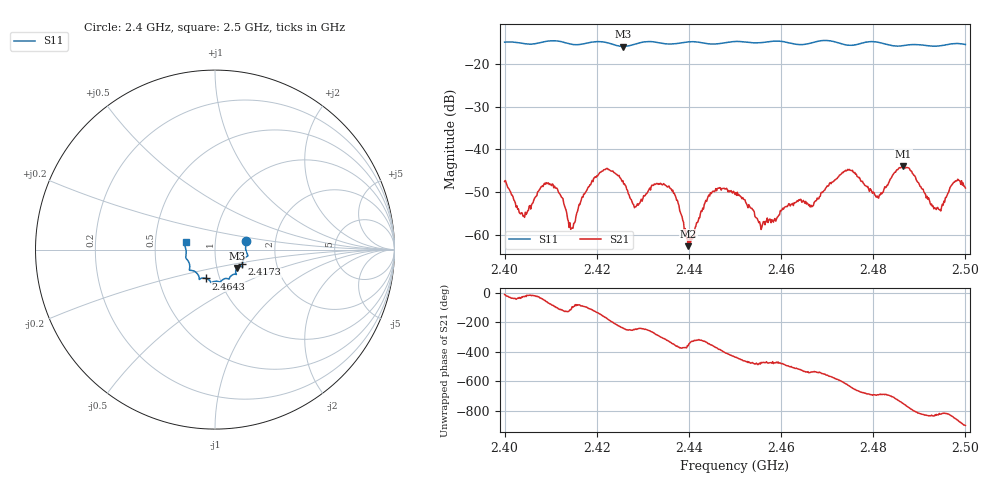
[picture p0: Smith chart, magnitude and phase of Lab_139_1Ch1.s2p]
# Hz S RI R 50
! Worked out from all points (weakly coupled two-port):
!   601 points, 2.4 GHz to 2.5 GHz, reference 50 ohm
!   highest |S21| = -44.00 dB at 2.4865 GHz (marker M1); lowest = -62.7 dB at 2.4398 GHz (marker M2)
!   lowest |S11| = -15.9 dB at 2.4257 GHz (marker M3), VSWR 1.38, Z = 62.5 - j13.1 ohm
!   |S11| at or under -10 dB: start of sweep to end of sweep
!   S12 and S22 are empty: the file has one direction only
!   S11 on the Smith chart (normalised r, x): 2.4 GHz: 1.41, +0.14; 2.4173 GHz: 1.34, -0.23; 2.4643 GHz: 0.86, -0.28; 2.5 GHz: 0.72, +0.06
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2.4e9  0.1731 0.0494  0.00409 -0.000937  0 0  0 0
2.403833e9  0.1725 0.027  0.00152 -0.000943  0 0  0 0
2.410833e9  0.1835 -0.0347  -0.000286 -0.0037  0 0  0 0
2.4145e9  0.1623 -0.0511  -0.000396 -0.00112  0 0  0 0
2.416667e9  0.1527 -0.0745  1.19e-05 -0.0026  0 0  0 0
2.417333e9  0.1521 -0.0819  -0.000258 -0.00299  0 0  0 0
2.421833e9  0.1521 -0.0948  -0.00567 -0.00122  0 0  0 0
2.425667e9  0.1227 -0.1024  -0.00216 0.00371  0 0  0 0
2.4285e9  0.1152 -0.1277  -0.000861 0.00195  0 0  0 0
2.433333e9  0.1128 -0.1371  0.00132 0.00366  0 0  0 0
2.436667e9  0.0895 -0.1466  0.00297 0.000699  0 0  0 0
2.439833e9  0.0799 -0.1625  0.000736 3.66e-07  0 0  0 0
2.444667e9  0.0583 -0.161  0.00309 0.000392  0 0  0 0
2.45e9  0.0293 -0.1809  0.000717 -0.00288  0 0  0 0
2.456e9  -0.00664 -0.1781  -0.000511 -0.00124  0 0  0 0
2.464333e9  -0.0498 -0.1606  -0.00248 -0.000748  0 0  0 0
2.466667e9  -0.0758 -0.1595  -0.00212 -0.000154  0 0  0 0
2.474333e9  -0.1 -0.1325  -0.000863 0.00563  0 0  0 0
2.483333e9  -0.1406 -0.09  0.00363 0.0018  0 0  0 0
2.4865e9  -0.1525 -0.0595  0.00546 -0.00317  0 0  0 0
2.494167e9  -0.1621 0.000207  -0.000562 -0.00192  0 0  0 0
2.5e9  -0.1636 0.0421  -0.00353 -9.61e-05  0 0  0 0
